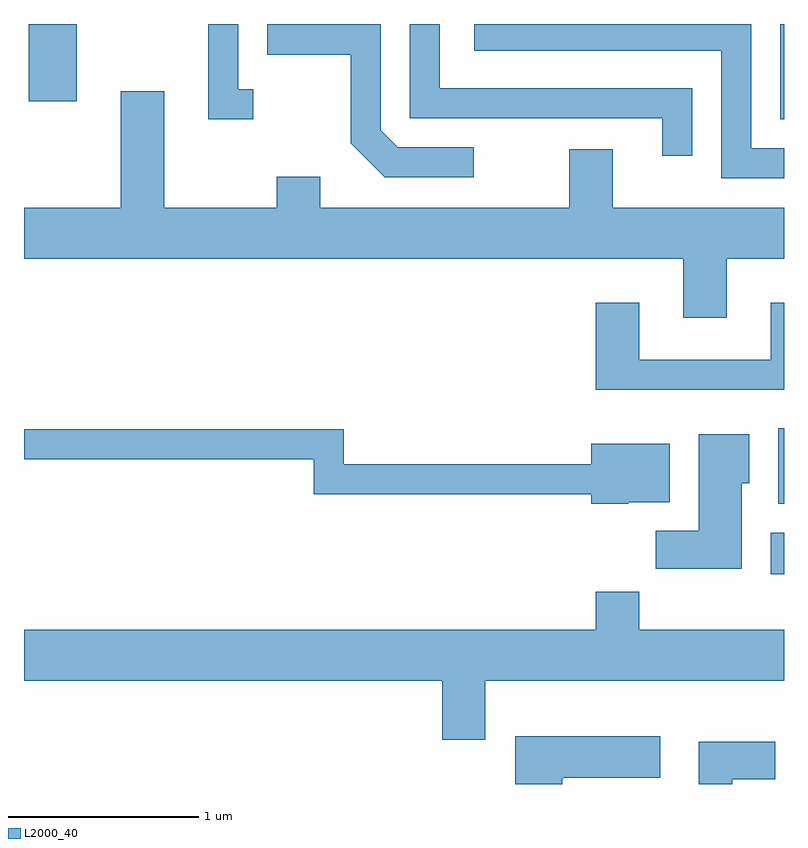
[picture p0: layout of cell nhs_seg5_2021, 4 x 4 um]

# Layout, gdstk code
import gdstk
lib = gdstk.Library(unit=1e-6, precision=1e-09)
def R(c, l, rs):  # rectangles x0, y0, x1, y1
    for r in rs: c.add(gdstk.rectangle(r[:2], r[2:], *l))
def P(c, l, *ps):  # polygons
    for p in ps: c.add(gdstk.Polygon(p, *l))
L2000_40 = (2000, 40)

nhs_seg5_2021 = lib.new_cell('nhs_seg5_2021')
R(nhs_seg5_2021, L2000_40, [(249.541,1415.176,249.611,1415.394), (249.581,1415.546,249.611,1415.944), (249.591,1417.571,249.611,1418.072), (245.636,1417.666,245.889,1418.072)])
P(nhs_seg5_2021, L2000_40, [(249.611,1417.419),(249.439,1417.419),(249.439,1418.072),(247.981,1418.072),(247.981,1417.931),(249.281,1417.931),(249.281,1417.261),(249.611,1417.261)],
  [(249.129,1417.734),(247.799,1417.734),(247.799,1418.072),(247.641,1418.072),(247.641,1417.576),(248.971,1417.576),(248.971,1417.378),(249.129,1417.378)],
  [(247.978,1417.424),(247.577,1417.424),(247.489,1417.512),(247.489,1418.072),(246.891,1418.072),(246.891,1417.911),(247.331,1417.911),(247.331,1417.444),(247.509,1417.266),(247.978,1417.266)],
  [(246.818,1417.729),(246.739,1417.729),(246.739,1418.072),(246.581,1418.072),(246.581,1417.571),(246.818,1417.571)],
  [(249.309,1416.836),(249.611,1416.836),(249.611,1417.104),(248.709,1417.104),(248.709,1417.414),(248.481,1417.414),(248.481,1417.104),(247.169,1417.104),(247.169,1417.269),(246.941,1417.269),(246.941,1417.104),(246.349,1417.104),(246.349,1417.719),(246.121,1417.719),(246.121,1417.104),(245.611,1417.104),(245.611,1416.836),(249.081,1416.836),(249.081,1416.526),(249.309,1416.526)],
  [(249.611,1416.604),(249.541,1416.604),(249.541,1416.304),(248.849,1416.304),(248.849,1416.604),(248.621,1416.604),(248.621,1416.146),(249.611,1416.146)],
  [(248.79,1415.556),(249.009,1415.556),(249.009,1415.864),(248.596,1415.864),(248.596,1415.754),(247.294,1415.754),(247.294,1415.939),(245.611,1415.939),(245.611,1415.781),(247.136,1415.781),(247.136,1415.596),(248.596,1415.596),(248.596,1415.546),(248.79,1415.546)],
  [(249.389,1415.656),(249.429,1415.656),(249.429,1415.914),(249.161,1415.914),(249.161,1415.404),(248.936,1415.404),(248.936,1415.206),(249.389,1415.206)],
  [(248.039,1414.616),(249.611,1414.616),(249.611,1414.884),(248.849,1414.884),(248.849,1415.084),(248.621,1415.084),(248.621,1414.884),(245.611,1414.884),(245.611,1414.616),(247.811,1414.616),(247.811,1414.306),(248.039,1414.306)],
  [(248.444,1414.1),(248.45,1414.1),(248.45,1414.106),(248.959,1414.106),(248.959,1414.324),(248.196,1414.324),(248.196,1414.072),(248.444,1414.072)],
  [(249.339,1414.096),(249.564,1414.096),(249.564,1414.294),(249.161,1414.294),(249.161,1414.072),(249.339,1414.072)])

lib.write_gds('nhs_seg5_2021.gds')
